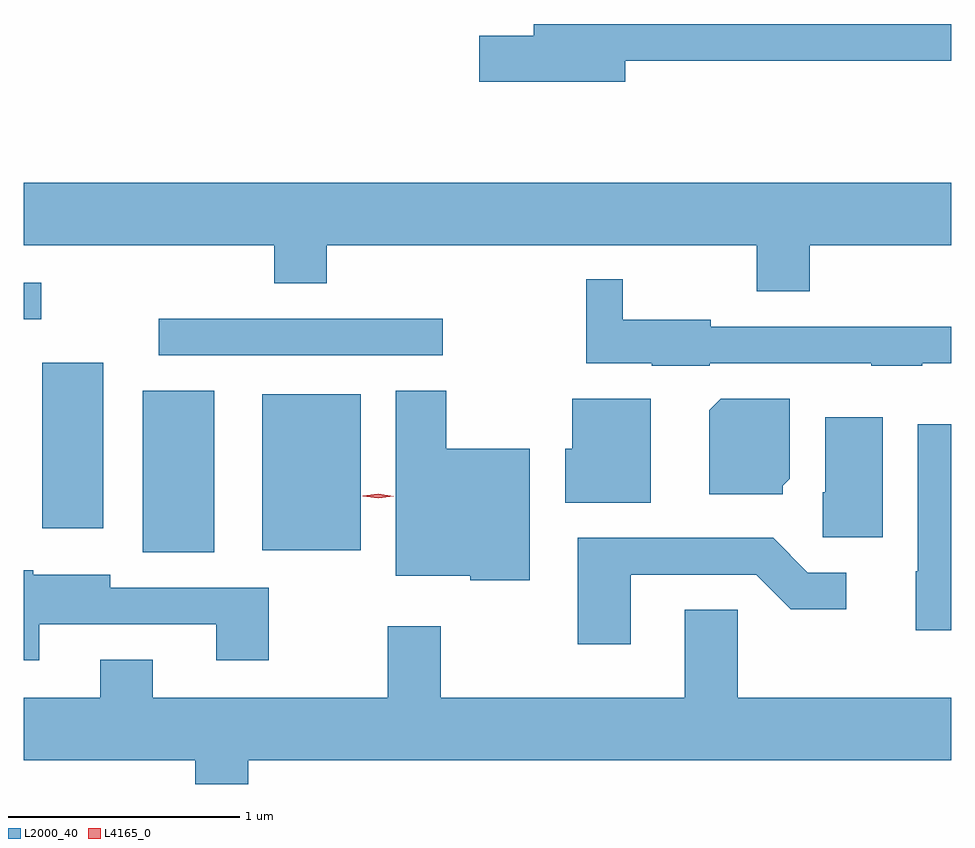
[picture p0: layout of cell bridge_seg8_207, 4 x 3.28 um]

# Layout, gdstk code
import gdstk
lib = gdstk.Library(unit=1e-6, precision=1e-09)
def R(c, l, rs):  # rectangles x0, y0, x1, y1
    for r in rs: c.add(gdstk.rectangle(r[:2], r[2:], *l))
def P(c, l, *ps):  # polygons
    for p in ps: c.add(gdstk.Polygon(p, *l))
L2000_40 = (2000, 40)
L4165_0 = (4165, 0)

bridge_seg8_207 = lib.new_cell('bridge_seg8_207')
R(bridge_seg8_207, L2000_40, [(1207.266,1897.251,1207.574,1897.949), (1207.781,1897.261,1208.204,1897.934), (1206.831,1897.356,1207.094,1898.069), (1207.333,1898.101,1208.558,1898.259), (1206.751,1898.256,1206.828,1898.414)])
P(bridge_seg8_207, L2000_40, [(1209.344,1899.371),(1210.751,1899.371),(1210.751,1899.529),(1208.951,1899.529),(1208.951,1899.479),(1208.716,1899.479),(1208.716,1899.281),(1209.344,1899.281)],
  [(1210.139,1898.576),(1210.751,1898.576),(1210.751,1898.844),(1206.751,1898.844),(1206.751,1898.576),(1207.831,1898.576),(1207.831,1898.411),(1208.059,1898.411),(1208.059,1898.576),(1209.911,1898.576),(1209.911,1898.376),(1210.139,1898.376)],
  [(1209.71,1898.066),(1210.405,1898.066),(1210.405,1898.056),(1210.625,1898.056),(1210.625,1898.066),(1210.751,1898.066),(1210.751,1898.224),(1209.714,1898.224),(1209.714,1898.254),(1209.334,1898.254),(1209.334,1898.428),(1209.176,1898.428),(1209.176,1898.066),(1209.46,1898.066),(1209.46,1898.056),(1209.71,1898.056)],
  [(1208.934,1897.699),(1208.574,1897.699),(1208.574,1897.949),(1208.356,1897.949),(1208.356,1897.151),(1208.676,1897.151),(1208.676,1897.131),(1208.934,1897.131)],
  [(1210.024,1897.539),(1210.054,1897.569),(1210.054,1897.914),(1209.757,1897.914),(1209.706,1897.864),(1209.706,1897.501),(1210.024,1897.501)],
  [(1209.454,1897.914),(1209.116,1897.914),(1209.116,1897.699),(1209.086,1897.699),(1209.086,1897.466),(1209.454,1897.466)],
  [(1210.454,1897.834),(1210.206,1897.834),(1210.206,1897.51),(1210.196,1897.51),(1210.196,1897.316),(1210.454,1897.316)],
  [(1210.751,1897.804),(1210.606,1897.804),(1210.606,1897.17),(1210.596,1897.17),(1210.596,1896.916),(1210.751,1896.916)],
  [(1209.369,1897.156),(1209.909,1897.156),(1210.059,1897.006),(1210.298,1897.006),(1210.298,1897.164),(1210.132,1897.164),(1209.982,1897.314),(1209.141,1897.314),(1209.141,1896.856),(1209.369,1896.856)],
  [(1206.819,1896.941),(1207.581,1896.941),(1207.581,1896.786),(1207.809,1896.786),(1207.809,1897.099),(1207.124,1897.099),(1207.124,1897.154),(1206.794,1897.154),(1206.794,1897.174),(1206.751,1897.174),(1206.751,1896.786),(1206.819,1896.786)],
  [(1207.081,1896.789),(1207.081,1896.624),(1206.751,1896.624),(1206.751,1896.356),(1207.491,1896.356),(1207.491,1896.253),(1207.719,1896.253),(1207.719,1896.356),(1210.751,1896.356),(1210.751,1896.624),(1209.829,1896.624),(1209.829,1897.004),(1209.601,1897.004),(1209.601,1896.624),(1208.549,1896.624),(1208.549,1896.934),(1208.321,1896.934),(1208.321,1896.624),(1207.309,1896.624),(1207.309,1896.789)])
P(bridge_seg8_207, L4165_0, [(1208.28,1897.484),(1208.214,1897.494),(1208.214,1897.494),(1208.214,1897.495),(1208.28,1897.504),(1208.346,1897.494),(1208.346,1897.494),(1208.346,1897.493)])

lib.write_gds('bridge_seg8_207.gds')
